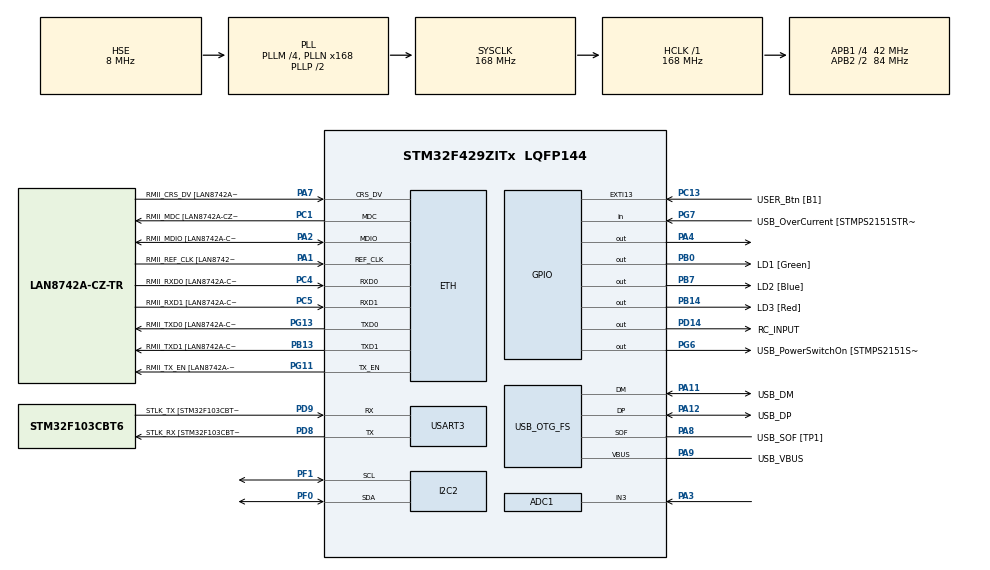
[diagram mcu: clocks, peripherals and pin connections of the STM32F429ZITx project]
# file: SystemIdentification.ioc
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ADC1.Channel-0\#ChannelRegularConversion=ADC_CHANNEL_3
ADC1.NbrOfConversionFlag=1
ADC1.Rank-0\#ChannelRegularConversion=1
ADC1.SamplingTime-0\#ChannelRegularConversion=ADC_SAMPLETIME_3CYCLES
ADC1.master=1
ETH.MediaInterface=HAL_ETH_RMII_MODE
ETH.PHY_Name=LAN8742A_PHY_ADDRESS
ETH.PHY_Value=0
ETH.PhyAddress=0
Mcu.Family=STM32F4
Mcu.Name=STM32F429ZITx
Mcu.Package=LQFP144
NVIC.EXTI15_10_IRQn=true\:0\:0\:false\:false\:true\:true\:true\:true
NVIC.PriorityGroup=NVIC_PRIORITYGROUP_4
PA1.GPIO_Label=RMII_REF_CLK [LAN8742A-CZ-TR_REFCLK0]
PA1.Mode=RMII
PA1.Signal=ETH_REF_CLK
PA10.GPIO_Label=USB_ID
PA10.Signal=USB_OTG_FS_ID
PA11.GPIO_Label=USB_DM
PA11.Mode=Device_Only
PA11.Signal=USB_OTG_FS_DM
PA12.GPIO_Label=USB_DP
PA12.Mode=Device_Only
PA12.Signal=USB_OTG_FS_DP
PA13.GPIO_Label=TMS
PA13.Mode=Serial_Wire
PA13.Signal=SYS_JTMS-SWDIO
PA14.GPIO_Label=TCK
PA14.Mode=Serial_Wire
PA14.Signal=SYS_JTCK-SWCLK
PA2.GPIO_Label=RMII_MDIO [LAN8742A-CZ-TR_MDIO]
PA2.Mode=RMII
PA2.Signal=ETH_MDIO
PA3.Signal=ADCx_IN3
PA4.Signal=GPIO_Output
PA7.GPIO_Label=RMII_CRS_DV [LAN8742A-CZ-TR_CRS_DV]
PA7.Mode=RMII
PA7.Signal=ETH_CRS_DV
PA8.GPIO_Label=USB_SOF [TP1]
PA8.Mode=Activate_SOF_FS
PA8.Signal=USB_OTG_FS_SOF
PA9.GPIO_Label=USB_VBUS
PA9.Mode=Activate_VBUS
PA9.Signal=USB_OTG_FS_VBUS
PB0.GPIO_Label=LD1 [Green]
PB0.Signal=GPIO_Output
PB13.GPIO_Label=RMII_TXD1 [LAN8742A-CZ-TR_TXD1]
PB13.Mode=RMII
PB13.Signal=ETH_TXD1
PB14.GPIO_Label=LD3 [Red]
PB14.Signal=GPIO_Output
PB7.GPIO_Label=LD2 [Blue]
PB7.Signal=GPIO_Output
PC1.GPIO_Label=RMII_MDC [LAN8742A-CZ-TR_MDC]
PC1.Mode=RMII
PC1.Signal=ETH_MDC
PC13.GPIO_Label=USER_Btn [B1]
PC13.GPIO_ModeDefaultEXTI=GPIO_MODE_IT_FALLING
PC13.Signal=GPXTI13
PC14/OSC32_IN.Mode=LSE-External-Oscillator
PC14/OSC32_IN.Signal=RCC_OSC32_IN
PC15/OSC32_OUT.Mode=LSE-External-Oscillator
PC15/OSC32_OUT.Signal=RCC_OSC32_OUT
PC4.GPIO_Label=RMII_RXD0 [LAN8742A-CZ-TR_RXD0]
PC4.Mode=RMII
PC4.Signal=ETH_RXD0
PC5.GPIO_Label=RMII_RXD1 [LAN8742A-CZ-TR_RXD1]
PC5.Mode=RMII
PC5.Signal=ETH_RXD1
PD14.GPIO_Label=RC_INPUT
PD14.Signal=GPIO_Output
PD8.GPIO_Label=STLK_RX [STM32F103CBT6_PA3]
PD8.Mode=Asynchronous
PD8.Signal=USART3_TX
PD9.GPIO_Label=STLK_TX [STM32F103CBT6_PA2]
PD9.Mode=Asynchronous
PD9.Signal=USART3_RX
PF0.Mode=I2C
PF0.Signal=I2C2_SDA
PF1.Mode=I2C
PF1.Signal=I2C2_SCL
PG11.GPIO_Label=RMII_TX_EN [LAN8742A-CZ-TR_TXEN]
PG11.Mode=RMII
PG11.Signal=ETH_TX_EN
PG13.GPIO_Label=RMII_TXD0 [LAN8742A-CZ-TR_TXD0]
PG13.Mode=RMII
PG13.Signal=ETH_TXD0
PG6.GPIO_Label=USB_PowerSwitchOn [STMPS2151STR_EN]
PG6.Signal=GPIO_Output
PG7.GPIO_Label=USB_OverCurrent [STMPS2151STR_FAULT]
PG7.Signal=GPIO_Input
PH0/OSC_IN.GPIO_Label=MCO [STM32F103CBT6_PA8]
PH0/OSC_IN.Mode=HSE-External-Clock-Source
PH0/OSC_IN.Signal=RCC_OSC_IN
PH1/OSC_OUT.Mode=HSE-External-Clock-Source
PH1/OSC_OUT.Signal=RCC_OSC_OUT
ProjectManager.HeapSize=0x200
ProjectManager.StackSize=0x400
ProjectManager.TargetToolchain=STM32CubeIDE
RCC.48MHZClocksFreq_Value=48000000
RCC.AHBFreq_Value=168000000
RCC.APB1CLKDivider=RCC_HCLK_DIV4
RCC.APB1Freq_Value=42000000
RCC.APB1TimFreq_Value=84000000
RCC.APB2CLKDivider=RCC_HCLK_DIV2
RCC.APB2Freq_Value=84000000
RCC.APB2TimCLKDivider=2
RCC.APB2TimFreq_Value=168000000
RCC.CortexFreq_Value=168000000
RCC.HCLKFreq_Value=168000000
RCC.HSE_VALUE=8000000
RCC.HSI_VALUE=16000000
RCC.PLLM=4
RCC.PLLMUL=RCC_PLL_MUL9
RCC.PLLN=168
RCC.PLLQ=7
RCC.PRESCALERUSB=RCC_USBCLKSOURCE_PLL_DIV1_5
RCC.SYSCLKFreq_VALUE=168000000
RCC.SYSCLKSource=RCC_SYSCLKSOURCE_PLLCLK
RCC.SYSCLKSourceVirtual=RCC_SYSCLKSOURCE_PLLCLK
RCC.USBFreq_Value=48000000
RCC.VCOOutputFreq_Value=336000000
SH.ADCx_IN3.0=ADC1_IN3,IN3
USART3.VirtualMode=VM_ASYNC
USB_OTG_FS.VirtualMode=Device_Only
board=NUCLEO-F429ZI

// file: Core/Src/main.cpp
/* USER CODE BEGIN Header */
/**
  ******************************************************************************
  * @file           : main.c
  * @brief          : Main program body
  ******************************************************************************
  * @attention
  *
  * Copyright (c) 2025 STMicroelectronics.
  * All rights reserved.
  *
  * This software is licensed under terms that can be found in the LICENSE file
  * in the root directory of this software component.
  * If no LICENSE file comes with this software, it is provided AS-IS.
  *
  ******************************************************************************
  */
/* USER CODE END Header */
#include "main.h"
#include "string.h"

/* USER CODE BEGIN Includes */

#include <iostream>
#include <queue>

#include "lcd.h"
#include "Event.h"
#include "SystemState.h"
#include "SystemStateHandler.h"

/* USER CODE END Includes */

ETH_TxPacketConfig TxConfig;
ETH_DMADescTypeDef  DMARxDscrTab[ETH_RX_DESC_CNT]; /* Ethernet Rx DMA Descriptors */
ETH_DMADescTypeDef  DMATxDscrTab[ETH_TX_DESC_CNT]; /* Ethernet Tx DMA Descriptors */

ADC_HandleTypeDef hadc1;

ETH_HandleTypeDef heth;

I2C_HandleTypeDef hi2c2;

UART_HandleTypeDef huart3;

PCD_HandleTypeDef hpcd_USB_OTG_FS;

/* USER CODE BEGIN PV */

LCD_HandleTypeDef lcd;
SystemStateHandler *sysHandler;
std::queue<Event*> event_queue;
SystemState CurrentState = STATE_STARTING;
uint32_t startTime = 0;
uint32_t stateTimestamp = 0;

/* USER CODE END PV */

void SystemClock_Config(void);
static void MX_GPIO_Init(void);
static void MX_ETH_Init(void);
static void MX_USART3_UART_Init(void);
static void MX_USB_OTG_FS_PCD_Init(void);
static void MX_ADC1_Init(void);
static void MX_I2C2_Init(void);

int main(void)
{

  /* MCU Configuration--------------------------------------------------------*/

  /* Reset of all peripherals, Initializes the Flash interface and the Systick. */
  HAL_Init();

  /* Configure the system clock */
  SystemClock_Config();

  /* Initialize all configured peripherals */
  MX_GPIO_Init();
  MX_ETH_Init();
  MX_USART3_UART_Init();
  MX_USB_OTG_FS_PCD_Init();
  MX_ADC1_Init();
  MX_I2C2_Init();
  /* USER CODE BEGIN 2 */

  sysHandler = new SystemStateHandler();
  lcd.i2c = &hi2c2;
  lcd.i2c_addr = LCD_DEFAULT_ADDR;
  LCD_Begin(&lcd);
  LCD_Clear(&lcd);
  LCD_SetBacklight(&lcd, true);
  event_queue.push(new SystemStartEvent());

  /* USER CODE END 2 */

  /* Infinite loop */
  /* USER CODE BEGIN WHILE */
  while (1)
  {
	  sysHandler->vBlinking();
	  //Queue geordnet abarbeiten
	  if (!event_queue.empty()) {
		  Event *currentEvent = event_queue.front();
		  event_queue.pop();
		  currentEvent->vHandleEvent();
		  delete currentEvent;
	  }
    /* USER CODE END WHILE */

  }
}

void SystemClock_Config(void)
{
  RCC_OscInitTypeDef RCC_OscInitStruct = {0};
  RCC_ClkInitTypeDef RCC_ClkInitStruct = {0};

  /** Configure the main internal regulator output voltage
  */
  __HAL_RCC_PWR_CLK_ENABLE();
  __HAL_PWR_VOLTAGESCALING_CONFIG(PWR_REGULATOR_VOLTAGE_SCALE1);

  /** Initializes the RCC Oscillators according to the specified parameters
  * in the RCC_OscInitTypeDef structure.
  */
  RCC_OscInitStruct.OscillatorType = RCC_OSCILLATORTYPE_HSE;
  RCC_OscInitStruct.HSEState = RCC_HSE_BYPASS;
  RCC_OscInitStruct.PLL.PLLState = RCC_PLL_ON;
  RCC_OscInitStruct.PLL.PLLSource = RCC_PLLSOURCE_HSE;
  RCC_OscInitStruct.PLL.PLLM = 4;
  RCC_OscInitStruct.PLL.PLLN = 168;
  RCC_OscInitStruct.PLL.PLLP = RCC_PLLP_DIV2;
  RCC_OscInitStruct.PLL.PLLQ = 7;
  if (HAL_RCC_OscConfig(&RCC_OscInitStruct) != HAL_OK)
  {
    Error_Handler();
  }

  /** Initializes the CPU, AHB and APB buses clocks
  */
  RCC_ClkInitStruct.ClockType = RCC_CLOCKTYPE_HCLK|RCC_CLOCKTYPE_SYSCLK
                              |RCC_CLOCKTYPE_PCLK1|RCC_CLOCKTYPE_PCLK2;
  RCC_ClkInitStruct.SYSCLKSource = RCC_SYSCLKSOURCE_PLLCLK;
  RCC_ClkInitStruct.AHBCLKDivider = RCC_SYSCLK_DIV1;
  RCC_ClkInitStruct.APB1CLKDivider = RCC_HCLK_DIV4;
  RCC_ClkInitStruct.APB2CLKDivider = RCC_HCLK_DIV2;

  if (HAL_RCC_ClockConfig(&RCC_ClkInitStruct, FLASH_LATENCY_5) != HAL_OK)
  {
    Error_Handler();
  }
}

static void MX_ADC1_Init(void)
{

  ADC_ChannelConfTypeDef sConfig = {0};

  /** Configure the global features of the ADC (Clock, Resolution, Data Alignment and number of conversion)
  */
  hadc1.Instance = ADC1;
  hadc1.Init.ClockPrescaler = ADC_CLOCK_SYNC_PCLK_DIV4;
  hadc1.Init.Resolution = ADC_RESOLUTION_12B;
  hadc1.Init.ScanConvMode = DISABLE;
  hadc1.Init.ContinuousConvMode = DISABLE;
  hadc1.Init.DiscontinuousConvMode = DISABLE;
  hadc1.Init.ExternalTrigConvEdge = ADC_EXTERNALTRIGCONVEDGE_NONE;
  hadc1.Init.ExternalTrigConv = ADC_SOFTWARE_START;
  hadc1.Init.DataAlign = ADC_DATAALIGN_RIGHT;
  hadc1.Init.NbrOfConversion = 1;
  hadc1.Init.DMAContinuousRequests = DISABLE;
  hadc1.Init.EOCSelection = ADC_EOC_SINGLE_CONV;
  if (HAL_ADC_Init(&hadc1) != HAL_OK)
  {
    Error_Handler();
  }

  /** Configure for the selected ADC regular channel its corresponding rank in the sequencer and its sample time.
  */
  sConfig.Channel = ADC_CHANNEL_3;
  sConfig.Rank = 1;
  sConfig.SamplingTime = ADC_SAMPLETIME_3CYCLES;
  if (HAL_ADC_ConfigChannel(&hadc1, &sConfig) != HAL_OK)
  {
    Error_Handler();
  }

}

static void MX_ETH_Init(void)
{

   static uint8_t MACAddr[6];

  heth.Instance = ETH;
  MACAddr[0] = 0x00;
  MACAddr[1] = 0x80;
  MACAddr[2] = 0xE1;
  MACAddr[3] = 0x00;
  MACAddr[4] = 0x00;
  MACAddr[5] = 0x00;
  heth.Init.MACAddr = &MACAddr[0];
  heth.Init.MediaInterface = HAL_ETH_RMII_MODE;
  heth.Init.TxDesc = DMATxDscrTab;
  heth.Init.RxDesc = DMARxDscrTab;
  heth.Init.RxBuffLen = 1524;

  if (HAL_ETH_Init(&heth) != HAL_OK)
  {
    Error_Handler();
  }

  memset(&TxConfig, 0 , sizeof(ETH_TxPacketConfig));
  TxConfig.Attributes = ETH_TX_PACKETS_FEATURES_CSUM | ETH_TX_PACKETS_FEATURES_CRCPAD;
  TxConfig.ChecksumCtrl = ETH_CHECKSUM_IPHDR_PAYLOAD_INSERT_PHDR_CALC;
  TxConfig.CRCPadCtrl = ETH_CRC_PAD_INSERT;

}

static void MX_I2C2_Init(void)
{

  hi2c2.Instance = I2C2;
  hi2c2.Init.ClockSpeed = 100000;
  hi2c2.Init.DutyCycle = I2C_DUTYCYCLE_2;
  hi2c2.Init.OwnAddress1 = 0;
  hi2c2.Init.AddressingMode = I2C_ADDRESSINGMODE_7BIT;
  hi2c2.Init.DualAddressMode = I2C_DUALADDRESS_DISABLE;
  hi2c2.Init.OwnAddress2 = 0;
  hi2c2.Init.GeneralCallMode = I2C_GENERALCALL_DISABLE;
  hi2c2.Init.NoStretchMode = I2C_NOSTRETCH_DISABLE;
  if (HAL_I2C_Init(&hi2c2) != HAL_OK)
  {
    Error_Handler();
  }

  /** Configure Analogue filter
  */
  if (HAL_I2CEx_ConfigAnalogFilter(&hi2c2, I2C_ANALOGFILTER_ENABLE) != HAL_OK)
  {
    Error_Handler();
  }

  /** Configure Digital filter
  */
  if (HAL_I2CEx_ConfigDigitalFilter(&hi2c2, 0) != HAL_OK)
  {
    Error_Handler();
  }

}

static void MX_USART3_UART_Init(void)
{

  huart3.Instance = USART3;
  huart3.Init.BaudRate = 115200;
  huart3.Init.WordLength = UART_WORDLENGTH_8B;
  huart3.Init.StopBits = UART_STOPBITS_1;
  huart3.Init.Parity = UART_PARITY_NONE;
  huart3.Init.Mode = UART_MODE_TX_RX;
  huart3.Init.HwFlowCtl = UART_HWCONTROL_NONE;
  huart3.Init.OverSampling = UART_OVERSAMPLING_16;
  if (HAL_UART_Init(&huart3) != HAL_OK)
  {
    Error_Handler();
  }

}

static void MX_USB_OTG_FS_PCD_Init(void)
{

  hpcd_USB_OTG_FS.Instance = USB_OTG_FS;
  hpcd_USB_OTG_FS.Init.dev_endpoints = 4;
  hpcd_USB_OTG_FS.Init.speed = PCD_SPEED_FULL;
  hpcd_USB_OTG_FS.Init.dma_enable = DISABLE;
  hpcd_USB_OTG_FS.Init.phy_itface = PCD_PHY_EMBEDDED;
  hpcd_USB_OTG_FS.Init.Sof_enable = ENABLE;
  hpcd_USB_OTG_FS.Init.low_power_enable = DISABLE;
  hpcd_USB_OTG_FS.Init.lpm_enable = DISABLE;
  hpcd_USB_OTG_FS.Init.vbus_sensing_enable = ENABLE;
  hpcd_USB_OTG_FS.Init.use_dedicated_ep1 = DISABLE;
  if (HAL_PCD_Init(&hpcd_USB_OTG_FS) != HAL_OK)
  {
    Error_Handler();
  }

}

static void MX_GPIO_Init(void)
{
  GPIO_InitTypeDef GPIO_InitStruct = {0};

  /* GPIO Ports Clock Enable */
  __HAL_RCC_GPIOC_CLK_ENABLE();
  __HAL_RCC_GPIOF_CLK_ENABLE();
  __HAL_RCC_GPIOH_CLK_ENABLE();
  __HAL_RCC_GPIOA_CLK_ENABLE();
  __HAL_RCC_GPIOB_CLK_ENABLE();
  __HAL_RCC_GPIOD_CLK_ENABLE();
  __HAL_RCC_GPIOG_CLK_ENABLE();

  /*Configure GPIO pin Output Level */
  HAL_GPIO_WritePin(GPIOA, GPIO_PIN_4, GPIO_PIN_RESET);

  /*Configure GPIO pin Output Level */
  HAL_GPIO_WritePin(GPIOB, LD1_Pin|LD3_Pin|LD2_Pin, GPIO_PIN_RESET);

  /*Configure GPIO pin Output Level */
  HAL_GPIO_WritePin(RC_INPUT_GPIO_Port, RC_INPUT_Pin, GPIO_PIN_RESET);

  /*Configure GPIO pin Output Level */
  HAL_GPIO_WritePin(USB_PowerSwitchOn_GPIO_Port, USB_PowerSwitchOn_Pin, GPIO_PIN_RESET);

  /*Configure GPIO pin : USER_Btn_Pin */
  GPIO_InitStruct.Pin = USER_Btn_Pin;
  GPIO_InitStruct.Mode = GPIO_MODE_IT_FALLING;
  GPIO_InitStruct.Pull = GPIO_NOPULL;
  HAL_GPIO_Init(USER_Btn_GPIO_Port, &GPIO_InitStruct);

  /*Configure GPIO pin : PA4 */
  GPIO_InitStruct.Pin = GPIO_PIN_4;
  GPIO_InitStruct.Mode = GPIO_MODE_OUTPUT_PP;
  GPIO_InitStruct.Pull = GPIO_NOPULL;
  GPIO_InitStruct.Speed = GPIO_SPEED_FREQ_LOW;
  HAL_GPIO_Init(GPIOA, &GPIO_InitStruct);

  /*Configure GPIO pins : LD1_Pin LD3_Pin LD2_Pin */
  GPIO_InitStruct.Pin = LD1_Pin|LD3_Pin|LD2_Pin;
  GPIO_InitStruct.Mode = GPIO_MODE_OUTPUT_PP;
  GPIO_InitStruct.Pull = GPIO_NOPULL;
  GPIO_InitStruct.Speed = GPIO_SPEED_FREQ_LOW;
  HAL_GPIO_Init(GPIOB, &GPIO_InitStruct);

  /*Configure GPIO pin : RC_INPUT_Pin */
  GPIO_InitStruct.Pin = RC_INPUT_Pin;
  GPIO_InitStruct.Mode = GPIO_MODE_OUTPUT_PP;
  GPIO_InitStruct.Pull = GPIO_NOPULL;
  GPIO_InitStruct.Speed = GPIO_SPEED_FREQ_LOW;
  HAL_GPIO_Init(RC_INPUT_GPIO_Port, &GPIO_InitStruct);

  /*Configure GPIO pin : USB_PowerSwitchOn_Pin */
  GPIO_InitStruct.Pin = USB_PowerSwitchOn_Pin;
  GPIO_InitStruct.Mode = GPIO_MODE_OUTPUT_PP;
  GPIO_InitStruct.Pull = GPIO_NOPULL;
  GPIO_InitStruct.Speed = GPIO_SPEED_FREQ_LOW;
  HAL_GPIO_Init(USB_PowerSwitchOn_GPIO_Port, &GPIO_InitStruct);

  /*Configure GPIO pin : USB_OverCurrent_Pin */
  GPIO_InitStruct.Pin = USB_OverCurrent_Pin;
  GPIO_InitStruct.Mode = GPIO_MODE_INPUT;
  GPIO_InitStruct.Pull = GPIO_NOPULL;
  HAL_GPIO_Init(USB_OverCurrent_GPIO_Port, &GPIO_InitStruct);

  /* EXTI interrupt init*/
  HAL_NVIC_SetPriority(EXTI15_10_IRQn, 0, 0);
  HAL_NVIC_EnableIRQ(EXTI15_10_IRQn);

}

/* USER CODE BEGIN 4 */

void HAL_GPIO_EXTI_Callback(uint16_t GPIO_Pin) {
    if (GPIO_Pin == GPIO_PIN_13) {
        static uint32_t last_press = 0;
        if (HAL_GetTick() - last_press > 100) {
            event_queue.push(new BlueButtonEvent());
            last_press = HAL_GetTick();
        }
    }
}

/* USER CODE END 4 */

void Error_Handler(void)
{
  __disable_irq();
  while (1)
  {
  }
}
